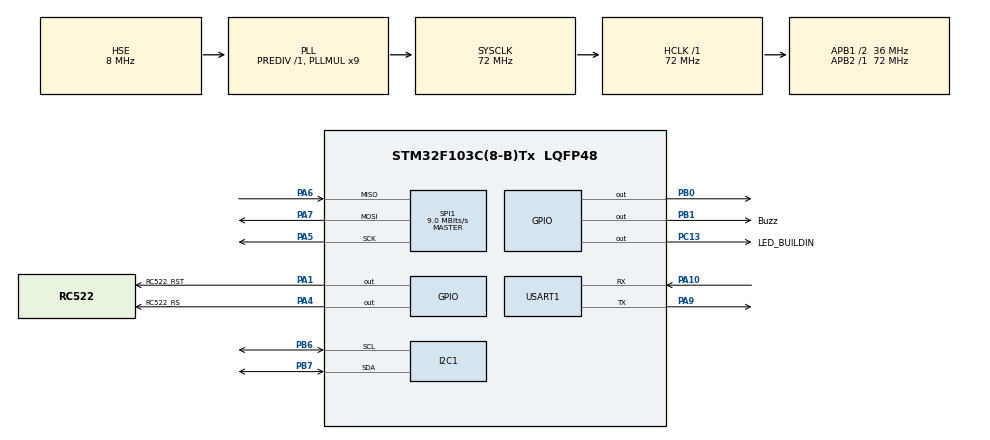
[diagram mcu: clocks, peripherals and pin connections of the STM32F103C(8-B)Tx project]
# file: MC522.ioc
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Mcu.Family=STM32F1
Mcu.Name=STM32F103C(8-B)Tx
Mcu.Package=LQFP48
NVIC.PriorityGroup=NVIC_PRIORITYGROUP_4
PA1.GPIO_Label=RC522_RST
PA1.Signal=GPIO_Output
PA10.Mode=Asynchronous
PA10.Signal=USART1_RX
PA13.Mode=Serial_Wire
PA13.Signal=SYS_JTMS-SWDIO
PA14.Mode=Serial_Wire
PA14.Signal=SYS_JTCK-SWCLK
PA4.GPIO_Label=RC522_RS
PA4.Signal=GPIO_Output
PA5.Mode=Full_Duplex_Master
PA5.Signal=SPI1_SCK
PA6.Mode=Full_Duplex_Master
PA6.Signal=SPI1_MISO
PA7.Mode=Full_Duplex_Master
PA7.Signal=SPI1_MOSI
PA9.Mode=Asynchronous
PA9.Signal=USART1_TX
PB0.Signal=GPIO_Output
PB1.GPIO_Label=Buzz
PB1.Signal=GPIO_Output
PB6.Mode=I2C
PB6.Signal=I2C1_SCL
PB7.Mode=I2C
PB7.Signal=I2C1_SDA
PC13-TAMPER-RTC.GPIO_Label=LED_BUILDIN
PC13-TAMPER-RTC.Signal=GPIO_Output
PD0-OSC_IN.Mode=HSE-External-Oscillator
PD0-OSC_IN.Signal=RCC_OSC_IN
PD1-OSC_OUT.Mode=HSE-External-Oscillator
PD1-OSC_OUT.Signal=RCC_OSC_OUT
ProjectManager.HeapSize=0x200
ProjectManager.StackSize=0x400
ProjectManager.TargetToolchain=MDK-ARM V5.32
RCC.AHBFreq_Value=72000000
RCC.APB1CLKDivider=RCC_HCLK_DIV2
RCC.APB1Freq_Value=36000000
RCC.APB1TimFreq_Value=72000000
RCC.APB2Freq_Value=72000000
RCC.APB2TimFreq_Value=72000000
RCC.HCLKFreq_Value=72000000
RCC.PLLMUL=RCC_PLL_MUL9
RCC.PLLSourceVirtual=RCC_PLLSOURCE_HSE
RCC.SYSCLKFreq_VALUE=72000000
RCC.SYSCLKSource=RCC_SYSCLKSOURCE_PLLCLK
RCC.USBFreq_Value=72000000
SPI1.BaudRatePrescaler=SPI_BAUDRATEPRESCALER_8
SPI1.CalculateBaudRate=9.0 MBits/s
SPI1.Direction=SPI_DIRECTION_2LINES
SPI1.Mode=SPI_MODE_MASTER
SPI1.VirtualType=VM_MASTER
USART1.VirtualMode=VM_ASYNC
board=custom

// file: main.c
/* USER CODE BEGIN Header */
/**
  ******************************************************************************
  * @file           : main.c
  * @brief          : Main program body
  ******************************************************************************
  * @attention
  *
  * Copyright (c) 2026 STMicroelectronics.
  * All rights reserved.
  *
  * This software is licensed under terms that can be found in the LICENSE file
  * in the root directory of this software component.
  * If no LICENSE file comes with this software, it is provided AS-IS.
  *
  ******************************************************************************
  */
/* USER CODE END Header */
#include "main.h"

/* USER CODE BEGIN Includes */
#include "rc522.h"
#include "string.h"
#include <stdlib.h>
/* USER CODE END Includes */

I2C_HandleTypeDef hi2c1;

SPI_HandleTypeDef hspi1;

UART_HandleTypeDef huart1;

/* USER CODE BEGIN PV */
uint8_t authorizedUID[4]; //Create the address of Card
uint8_t readUID[5];
uint8_t isCardRegistered = 0;
/* USER CODE END PV */

void SystemClock_Config(void);
static void MX_GPIO_Init(void);
static void MX_SPI1_Init(void);
static void MX_I2C1_Init(void);
static void MX_USART1_UART_Init(void);

int main(void)
{

  /* MCU Configuration--------------------------------------------------------*/

  /* Reset of all peripherals, Initializes the Flash interface and the Systick. */
  HAL_Init();

  /* Configure the system clock */
  SystemClock_Config();

  /* Initialize all configured peripherals */
  MX_GPIO_Init();
  MX_SPI1_Init();
  MX_I2C1_Init();
  MX_USART1_UART_Init();
  /* USER CODE BEGIN 2 */
	MFRC522_Init();

	//Relay off and LED off
	HAL_GPIO_WritePin(GPIOB, GPIO_PIN_0, GPIO_PIN_RESET);
  HAL_GPIO_WritePin(GPIOB, GPIO_PIN_1, GPIO_PIN_RESET);
  /* USER CODE END 2 */

  /* Infinite loop */
  /* USER CODE BEGIN WHILE */
  while (1)
  {
		//Check whenever the card is nearby
    if (MFRC522_Request(PICC_REQIDL, readUID) == MI_OK)
    {
      // Read UID
      if (MFRC522_Anticoll(readUID) == MI_OK)
      {
				// If no address, copy the address
        if (isCardRegistered == 0)
        {
          memcpy(authorizedUID, readUID, 4);
          isCardRegistered = 1;

          // Bip 2 times - copy the address of the UID successfully
          for(int k = 0; k < 2; k++) {
            HAL_GPIO_WritePin(GPIOB, GPIO_PIN_1, GPIO_PIN_SET);
            HAL_Delay(300);
            HAL_GPIO_WritePin(GPIOB, GPIO_PIN_1, GPIO_PIN_RESET);
            HAL_Delay(300);
          }
        }

        // Check if the card is correct or not
        if (memcmp(readUID, authorizedUID, 4) == 0)
        {
          // Yes
          // Led and Relay on
          HAL_GPIO_WritePin(GPIOB, GPIO_PIN_0, GPIO_PIN_SET);
          HAL_GPIO_WritePin(GPIOC, GPIO_PIN_13, GPIO_PIN_SET);

          // Bip 1 time
          HAL_GPIO_WritePin(GPIOB, GPIO_PIN_1, GPIO_PIN_SET);
          HAL_Delay(200);
          HAL_GPIO_WritePin(GPIOB, GPIO_PIN_1, GPIO_PIN_RESET);

          // Send string
          char *msg = "ACCESS_GRANTED\r\n";
          HAL_UART_Transmit(&huart1, (uint8_t*)msg, strlen(msg), 100);

          // Hold 3 times
          HAL_Delay(3000);

          HAL_GPIO_WritePin(GPIOB, GPIO_PIN_0, GPIO_PIN_RESET);
          HAL_GPIO_WritePin(GPIOC, GPIO_PIN_13, GPIO_PIN_RESET);
        }
        else
        {
          // NO

					char *msg = "ACCESS_DENIED\r\n";
					HAL_UART_Transmit(&huart1, (uint8_t*)msg, strlen(msg), 100);

          for(int i = 0; i < 3; i++) {
            HAL_GPIO_WritePin(GPIOB, GPIO_PIN_1, GPIO_PIN_SET);
						HAL_GPIO_WritePin(GPIOB, GPIO_PIN_0, GPIO_PIN_SET);
            HAL_Delay(100);
            HAL_GPIO_WritePin(GPIOB, GPIO_PIN_1, GPIO_PIN_RESET);
						HAL_GPIO_WritePin(GPIOB, GPIO_PIN_0, GPIO_PIN_RESET);

            HAL_Delay(100);
          }
        }
      }
    }
    else
    {
      // When No card
      HAL_GPIO_WritePin(GPIOB, GPIO_PIN_0, GPIO_PIN_RESET);
      HAL_GPIO_WritePin(GPIOC, GPIO_PIN_13, GPIO_PIN_RESET);
    }

    HAL_Delay(100);

		// MPU6050
    int16_t ax, ay, az;

    // Read value - the addres: 0x00
    uint8_t data[6];
    if (HAL_I2C_Mem_Read(&hi2c1, 0xD0, 0x3B, 1, data, 6, 100) == HAL_OK)
    {
        ax = (int16_t)((data[0] << 8) | data[1]);
        ay = (int16_t)((data[2] << 8) | data[3]);
        az = (int16_t)((data[4] << 8) | data[5]);

        if (abs(ax) > 5000 || abs(ay) > 5000)
        {
						char *alarmMsg = "ALARM_INTRUSION\r\n";
            HAL_UART_Transmit(&huart1, (uint8_t*)alarmMsg, strlen(alarmMsg), 100);
            // Bip lots of times
            for(int j = 0; j < 5; j++) {
								HAL_GPIO_WritePin(GPIOB,GPIO_PIN_0,GPIO_PIN_SET);
                HAL_GPIO_WritePin(GPIOB, GPIO_PIN_1, GPIO_PIN_SET);
                HAL_GPIO_WritePin(GPIOC, GPIO_PIN_13, GPIO_PIN_RESET);
                HAL_Delay(100);
                HAL_GPIO_WritePin(GPIOB, GPIO_PIN_1, GPIO_PIN_RESET);
                HAL_GPIO_WritePin(GPIOC, GPIO_PIN_13, GPIO_PIN_SET);
                HAL_Delay(100);
            }
        }
    }
		HAL_GPIO_WritePin(GPIOB,GPIO_PIN_0,GPIO_PIN_RESET);
    /* USER CODE END WHILE */

  }
}

void SystemClock_Config(void)
{
  RCC_OscInitTypeDef RCC_OscInitStruct = {0};
  RCC_ClkInitTypeDef RCC_ClkInitStruct = {0};

  /** Initializes the RCC Oscillators according to the specified parameters
  * in the RCC_OscInitTypeDef structure.
  */
  RCC_OscInitStruct.OscillatorType = RCC_OSCILLATORTYPE_HSE;
  RCC_OscInitStruct.HSEState = RCC_HSE_ON;
  RCC_OscInitStruct.HSEPredivValue = RCC_HSE_PREDIV_DIV1;
  RCC_OscInitStruct.HSIState = RCC_HSI_ON;
  RCC_OscInitStruct.PLL.PLLState = RCC_PLL_ON;
  RCC_OscInitStruct.PLL.PLLSource = RCC_PLLSOURCE_HSE;
  RCC_OscInitStruct.PLL.PLLMUL = RCC_PLL_MUL9;
  if (HAL_RCC_OscConfig(&RCC_OscInitStruct) != HAL_OK)
  {
    Error_Handler();
  }

  /** Initializes the CPU, AHB and APB buses clocks
  */
  RCC_ClkInitStruct.ClockType = RCC_CLOCKTYPE_HCLK|RCC_CLOCKTYPE_SYSCLK
                              |RCC_CLOCKTYPE_PCLK1|RCC_CLOCKTYPE_PCLK2;
  RCC_ClkInitStruct.SYSCLKSource = RCC_SYSCLKSOURCE_PLLCLK;
  RCC_ClkInitStruct.AHBCLKDivider = RCC_SYSCLK_DIV1;
  RCC_ClkInitStruct.APB1CLKDivider = RCC_HCLK_DIV2;
  RCC_ClkInitStruct.APB2CLKDivider = RCC_HCLK_DIV1;

  if (HAL_RCC_ClockConfig(&RCC_ClkInitStruct, FLASH_LATENCY_2) != HAL_OK)
  {
    Error_Handler();
  }
}

static void MX_I2C1_Init(void)
{

  hi2c1.Instance = I2C1;
  hi2c1.Init.ClockSpeed = 100000;
  hi2c1.Init.DutyCycle = I2C_DUTYCYCLE_2;
  hi2c1.Init.OwnAddress1 = 0;
  hi2c1.Init.AddressingMode = I2C_ADDRESSINGMODE_7BIT;
  hi2c1.Init.DualAddressMode = I2C_DUALADDRESS_DISABLE;
  hi2c1.Init.OwnAddress2 = 0;
  hi2c1.Init.GeneralCallMode = I2C_GENERALCALL_DISABLE;
  hi2c1.Init.NoStretchMode = I2C_NOSTRETCH_DISABLE;
  if (HAL_I2C_Init(&hi2c1) != HAL_OK)
  {
    Error_Handler();
  }

}

static void MX_SPI1_Init(void)
{

  /* SPI1 parameter configuration*/
  hspi1.Instance = SPI1;
  hspi1.Init.Mode = SPI_MODE_MASTER;
  hspi1.Init.Direction = SPI_DIRECTION_2LINES;
  hspi1.Init.DataSize = SPI_DATASIZE_8BIT;
  hspi1.Init.CLKPolarity = SPI_POLARITY_LOW;
  hspi1.Init.CLKPhase = SPI_PHASE_1EDGE;
  hspi1.Init.NSS = SPI_NSS_SOFT;
  hspi1.Init.BaudRatePrescaler = SPI_BAUDRATEPRESCALER_8;
  hspi1.Init.FirstBit = SPI_FIRSTBIT_MSB;
  hspi1.Init.TIMode = SPI_TIMODE_DISABLE;
  hspi1.Init.CRCCalculation = SPI_CRCCALCULATION_DISABLE;
  hspi1.Init.CRCPolynomial = 10;
  if (HAL_SPI_Init(&hspi1) != HAL_OK)
  {
    Error_Handler();
  }

}

static void MX_USART1_UART_Init(void)
{

  huart1.Instance = USART1;
  huart1.Init.BaudRate = 115200;
  huart1.Init.WordLength = UART_WORDLENGTH_8B;
  huart1.Init.StopBits = UART_STOPBITS_1;
  huart1.Init.Parity = UART_PARITY_NONE;
  huart1.Init.Mode = UART_MODE_TX_RX;
  huart1.Init.HwFlowCtl = UART_HWCONTROL_NONE;
  huart1.Init.OverSampling = UART_OVERSAMPLING_16;
  if (HAL_UART_Init(&huart1) != HAL_OK)
  {
    Error_Handler();
  }

}

static void MX_GPIO_Init(void)
{
  GPIO_InitTypeDef GPIO_InitStruct = {0};

  /* GPIO Ports Clock Enable */
  __HAL_RCC_GPIOC_CLK_ENABLE();
  __HAL_RCC_GPIOD_CLK_ENABLE();
  __HAL_RCC_GPIOA_CLK_ENABLE();
  __HAL_RCC_GPIOB_CLK_ENABLE();

  /*Configure GPIO pin Output Level */
  HAL_GPIO_WritePin(LED_BUILDIN_GPIO_Port, LED_BUILDIN_Pin, GPIO_PIN_RESET);

  /*Configure GPIO pin Output Level */
  HAL_GPIO_WritePin(GPIOA, RC522_RST_Pin|RC522_RS_Pin, GPIO_PIN_RESET);

  /*Configure GPIO pin Output Level */
  HAL_GPIO_WritePin(GPIOB, GPIO_PIN_0|Buzz_Pin, GPIO_PIN_RESET);

  /*Configure GPIO pin : LED_BUILDIN_Pin */
  GPIO_InitStruct.Pin = LED_BUILDIN_Pin;
  GPIO_InitStruct.Mode = GPIO_MODE_OUTPUT_PP;
  GPIO_InitStruct.Pull = GPIO_NOPULL;
  GPIO_InitStruct.Speed = GPIO_SPEED_FREQ_LOW;
  HAL_GPIO_Init(LED_BUILDIN_GPIO_Port, &GPIO_InitStruct);

  /*Configure GPIO pins : RC522_RST_Pin RC522_RS_Pin */
  GPIO_InitStruct.Pin = RC522_RST_Pin|RC522_RS_Pin;
  GPIO_InitStruct.Mode = GPIO_MODE_OUTPUT_PP;
  GPIO_InitStruct.Pull = GPIO_NOPULL;
  GPIO_InitStruct.Speed = GPIO_SPEED_FREQ_LOW;
  HAL_GPIO_Init(GPIOA, &GPIO_InitStruct);

  /*Configure GPIO pins : PB0 Buzz_Pin */
  GPIO_InitStruct.Pin = GPIO_PIN_0|Buzz_Pin;
  GPIO_InitStruct.Mode = GPIO_MODE_OUTPUT_PP;
  GPIO_InitStruct.Pull = GPIO_NOPULL;
  GPIO_InitStruct.Speed = GPIO_SPEED_FREQ_LOW;
  HAL_GPIO_Init(GPIOB, &GPIO_InitStruct);

}

void Error_Handler(void)
{
  __disable_irq();
  while (1)
  {
  }
}
